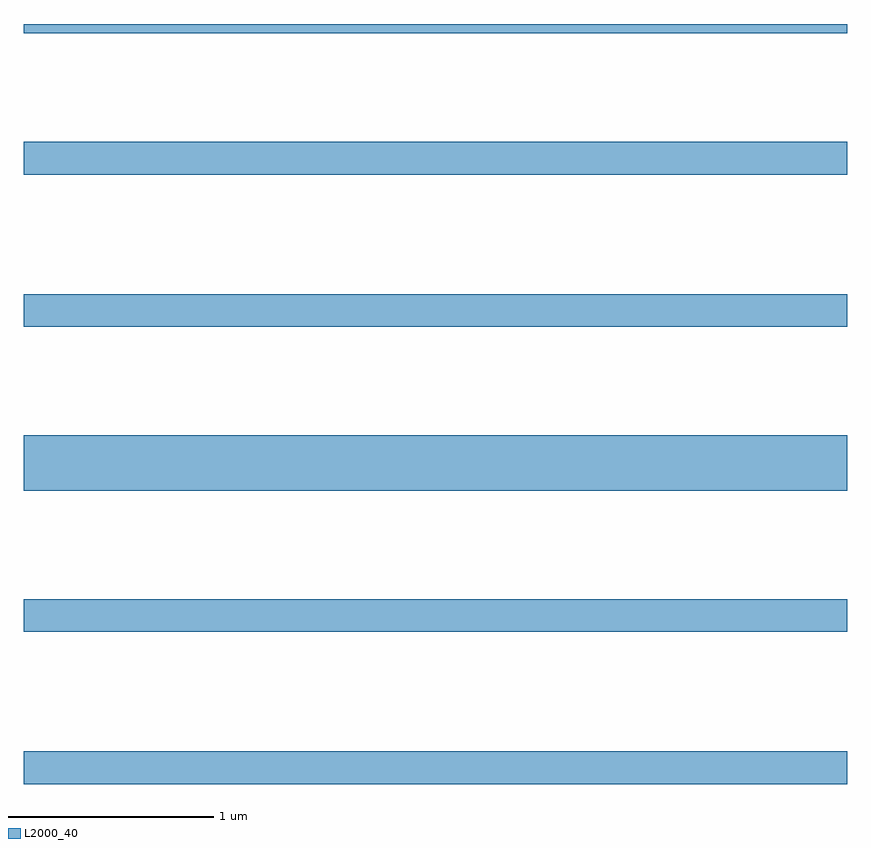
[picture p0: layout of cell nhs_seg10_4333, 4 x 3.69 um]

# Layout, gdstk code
import gdstk
lib = gdstk.Library(unit=1e-6, precision=1e-09)
def R(c, l, rs):  # rectangles x0, y0, x1, y1
    for r in rs: c.add(gdstk.rectangle(r[:2], r[2:], *l))
L2000_40 = (2000, 40)

nhs_seg10_4333 = lib.new_cell('nhs_seg10_4333')
R(nhs_seg10_4333, L2000_40, [(311.611,2216.831,315.611,2216.989), (311.611,2217.571,315.611,2217.729), (311.611,2218.256,315.611,2218.524), (311.611,2219.051,315.611,2219.209), (311.611,2219.791,315.611,2219.949), (311.611,2220.476,315.611,2220.522)])

lib.write_gds('nhs_seg10_4333.gds')
